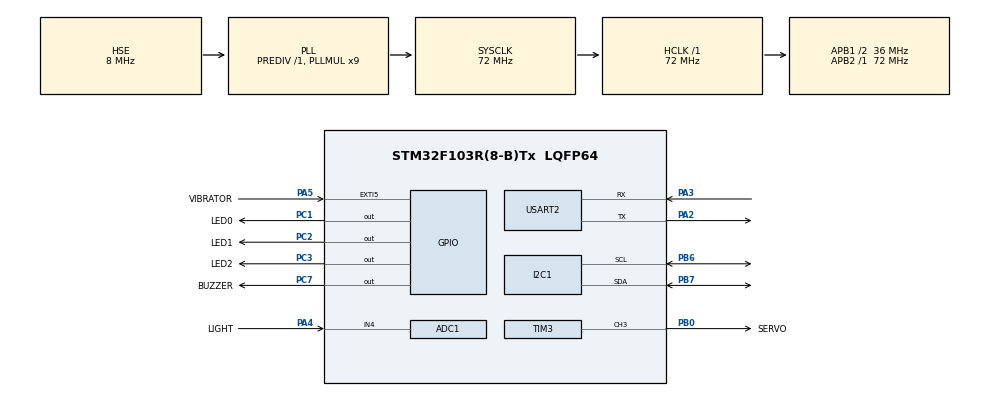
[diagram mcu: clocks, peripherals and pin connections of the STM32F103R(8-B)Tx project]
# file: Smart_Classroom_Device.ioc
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ADC1.Channel-0\#ChannelRegularConversion=ADC_CHANNEL_4
ADC1.NbrOfConversionFlag=1
ADC1.Rank-0\#ChannelRegularConversion=1
ADC1.SamplingTime-0\#ChannelRegularConversion=ADC_SAMPLETIME_1CYCLE_5
ADC1.master=1
I2C1.I2C_Mode=I2C_Fast
Mcu.Family=STM32F1
Mcu.Name=STM32F103R(8-B)Tx
Mcu.Package=LQFP64
NVIC.EXTI9_5_IRQn=true\:0\:0\:false\:false\:true\:true\:true\:true
NVIC.PriorityGroup=NVIC_PRIORITYGROUP_4
NVIC.USART2_IRQn=true\:0\:0\:false\:false\:true\:true\:true\:true
PA2.Mode=Asynchronous
PA2.Signal=USART2_TX
PA3.Mode=Asynchronous
PA3.Signal=USART2_RX
PA4.GPIO_Label=LIGHT
PA4.Signal=ADCx_IN4
PA5.GPIO_Label=VIBRATOR
PA5.GPIO_ModeDefaultEXTI=GPIO_MODE_IT_RISING
PA5.GPIO_PuPd=GPIO_PULLUP
PA5.Signal=GPXTI5
PB0.GPIO_Label=SERVO
PB0.Signal=S_TIM3_CH3
PB6.Mode=I2C
PB6.Signal=I2C1_SCL
PB7.Mode=I2C
PB7.Signal=I2C1_SDA
PC1.GPIO_Label=LED0
PC1.Signal=GPIO_Output
PC2.GPIO_Label=LED1
PC2.Signal=GPIO_Output
PC3.GPIO_Label=LED2
PC3.Signal=GPIO_Output
PC7.GPIO_Label=BUZZER
PC7.Signal=GPIO_Output
PD0-OSC_IN.Mode=HSE-External-Oscillator
PD0-OSC_IN.Signal=RCC_OSC_IN
PD1-OSC_OUT.Mode=HSE-External-Oscillator
PD1-OSC_OUT.Signal=RCC_OSC_OUT
ProjectManager.HeapSize=0x200
ProjectManager.StackSize=0x400
ProjectManager.TargetToolchain=MDK-ARM V5.32
RCC.ADCPresc=RCC_ADCPCLK2_DIV6
RCC.AHBFreq_Value=72000000
RCC.APB1CLKDivider=RCC_HCLK_DIV2
RCC.APB1Freq_Value=36000000
RCC.APB1TimFreq_Value=72000000
RCC.APB2Freq_Value=72000000
RCC.APB2TimFreq_Value=72000000
RCC.HCLKFreq_Value=72000000
RCC.PLLMUL=RCC_PLL_MUL9
RCC.PLLSourceVirtual=RCC_PLLSOURCE_HSE
RCC.SYSCLKFreq_VALUE=72000000
RCC.SYSCLKSource=RCC_SYSCLKSOURCE_PLLCLK
RCC.USBFreq_Value=72000000
SH.ADCx_IN4.0=ADC1_IN4,IN4
SH.S_TIM3_CH3.0=TIM3_CH3,PWM Generation3 CH3
TIM2.Prescaler=71
TIM3.Channel-PWM\ Generation3\ CH3=TIM_CHANNEL_3
TIM3.Period=20000
TIM3.Prescaler=71
TIM3.Pulse-PWM\ Generation3\ CH3=0
USART2.VirtualMode=VM_ASYNC
VP_SYS_VS_ND.Mode=No_Debug
VP_TIM2_VS_ClockSourceINT.Mode=Internal
VP_TIM3_VS_ClockSourceINT.Mode=Internal
board=custom

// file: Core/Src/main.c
/* USER CODE BEGIN Header */
/**
  ******************************************************************************
  * @file           : main.c
  * @brief          : Main program body
  ******************************************************************************
  * @attention
  *
  * Copyright (c) 2026 STMicroelectronics.
  * All rights reserved.
  *
  * This software is licensed under terms that can be found in the LICENSE file
  * in the root directory of this software component.
  * If no LICENSE file comes with this software, it is provided AS-IS.
  *
  ******************************************************************************
  */
/* USER CODE END Header */
#include "main.h"
#include "adc.h"
#include "i2c.h"
#include "tim.h"
#include "usart.h"
#include "gpio.h"

/* USER CODE BEGIN Includes */
#include <stdio.h>
#include <string.h>
#include "dht11.h"
#include "light.h"
#include "servo.h"
/* USER CODE END Includes */

/* USER CODE BEGIN PM */
#define DEVICE_ID "xuzhaoyang"  // 板子设备唯一名称
/* USER CODE END PM */

void SystemClock_Config(void);

int main(void)
{

  /* MCU Configuration--------------------------------------------------------*/

  /* Reset of all peripherals, Initializes the Flash interface and the Systick. */
  HAL_Init();

  /* Configure the system clock */
  SystemClock_Config();

  /* Initialize all configured peripherals */
  MX_GPIO_Init();
  MX_ADC1_Init();
  MX_TIM2_Init();
  MX_USART2_UART_Init();
  MX_TIM3_Init();
  MX_I2C1_Init();
  /* USER CODE BEGIN 2 */
	DHT11_Init();
	Servo_Init();
	HAL_ADCEx_Calibration_Start(&hadc1);  // 校准

  /* USER CODE END 2 */

  /* Infinite loop */
  /* USER CODE BEGIN WHILE */

	float temp = 0;
	uint8_t humi = 0;
	uint32_t light = 0;
	uint8_t vibrator = 0;
	uint8_t switch_state = 0;
	char upload_data[100];

  while (1)
  {
		// 采集一次温湿度数据
		if(0 == DHT11_Get(&temp, &humi))
		{
			// 如果采集温湿度数据成功，就上传云端
			sprintf(upload_data, "%s/sensor/dht11 %.1f_%u\n", DEVICE_ID, temp, humi);
			HAL_UART_Transmit(&huart2, (uint8_t *)upload_data, strlen(upload_data), 1000);
		}

		// 采集光照强度，并上传到云端
		light = Light_Get();
		sprintf(upload_data, "%s/sensor/light %u\n", DEVICE_ID, light);
		HAL_UART_Transmit(&huart2, (uint8_t *)upload_data, strlen(upload_data), 1000);

		// 采集震动传感器数据，并上传到云端
		vibrator = HAL_GPIO_ReadPin(VIBRATOR_GPIO_Port, VIBRATOR_Pin);
		sprintf(upload_data, "%s/sensor/vibrator %u\n", DEVICE_ID, vibrator);
		HAL_UART_Transmit(&huart2, (uint8_t *)upload_data, strlen(upload_data), 1000);

		// 上传各种设备状态数据

		// 获取蜂鸣器状态并上传
		switch_state = HAL_GPIO_ReadPin(BUZZER_GPIO_Port, BUZZER_Pin);
		sprintf(upload_data, "%s/state/buzzer %u\n", DEVICE_ID, switch_state);
		HAL_UART_Transmit(&huart2, (uint8_t *)upload_data, strlen(upload_data), 1000);

		// 获取LED状态并上传
		switch_state = HAL_GPIO_ReadPin(LED2_GPIO_Port, LED2_Pin);
		sprintf(upload_data, "%s/state/led %u\n", DEVICE_ID, switch_state);
		HAL_UART_Transmit(&huart2, (uint8_t *)upload_data, strlen(upload_data), 1000);

		// 获取继电器状态并上传
		switch_state = HAL_GPIO_ReadPin(GPIOA, GPIO_PIN_4);
		sprintf(upload_data, "%s/state/lamp %u\n", DEVICE_ID, switch_state);
		HAL_UART_Transmit(&huart2, (uint8_t *)upload_data, strlen(upload_data), 1000);

		// 其他传感器可以在这里扩展
		// ......

		// 采集周期延时 2s
		HAL_Delay(2000);

    /* USER CODE END WHILE */

  }
}

void SystemClock_Config(void)
{
  RCC_OscInitTypeDef RCC_OscInitStruct = {0};
  RCC_ClkInitTypeDef RCC_ClkInitStruct = {0};
  RCC_PeriphCLKInitTypeDef PeriphClkInit = {0};

  /** Initializes the RCC Oscillators according to the specified parameters
  * in the RCC_OscInitTypeDef structure.
  */
  RCC_OscInitStruct.OscillatorType = RCC_OSCILLATORTYPE_HSE;
  RCC_OscInitStruct.HSEState = RCC_HSE_ON;
  RCC_OscInitStruct.HSEPredivValue = RCC_HSE_PREDIV_DIV1;
  RCC_OscInitStruct.HSIState = RCC_HSI_ON;
  RCC_OscInitStruct.PLL.PLLState = RCC_PLL_ON;
  RCC_OscInitStruct.PLL.PLLSource = RCC_PLLSOURCE_HSE;
  RCC_OscInitStruct.PLL.PLLMUL = RCC_PLL_MUL9;
  if (HAL_RCC_OscConfig(&RCC_OscInitStruct) != HAL_OK)
  {
    Error_Handler();
  }

  /** Initializes the CPU, AHB and APB buses clocks
  */
  RCC_ClkInitStruct.ClockType = RCC_CLOCKTYPE_HCLK|RCC_CLOCKTYPE_SYSCLK
                              |RCC_CLOCKTYPE_PCLK1|RCC_CLOCKTYPE_PCLK2;
  RCC_ClkInitStruct.SYSCLKSource = RCC_SYSCLKSOURCE_PLLCLK;
  RCC_ClkInitStruct.AHBCLKDivider = RCC_SYSCLK_DIV1;
  RCC_ClkInitStruct.APB1CLKDivider = RCC_HCLK_DIV2;
  RCC_ClkInitStruct.APB2CLKDivider = RCC_HCLK_DIV1;

  if (HAL_RCC_ClockConfig(&RCC_ClkInitStruct, FLASH_LATENCY_2) != HAL_OK)
  {
    Error_Handler();
  }
  PeriphClkInit.PeriphClockSelection = RCC_PERIPHCLK_ADC;
  PeriphClkInit.AdcClockSelection = RCC_ADCPCLK2_DIV6;
  if (HAL_RCCEx_PeriphCLKConfig(&PeriphClkInit) != HAL_OK)
  {
    Error_Handler();
  }
}

void Error_Handler(void)
{
  __disable_irq();
  while (1)
  {
  }
}
